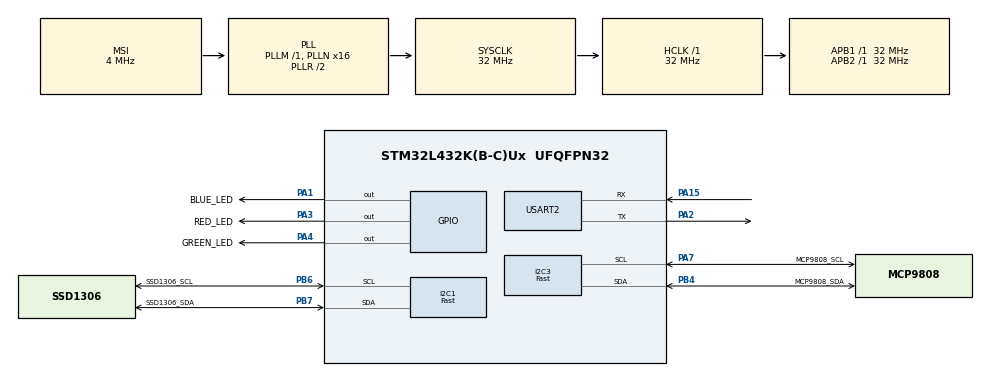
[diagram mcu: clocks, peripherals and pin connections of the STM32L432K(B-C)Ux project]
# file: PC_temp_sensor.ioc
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I2C1.I2C_Speed_Mode=I2C_Fast
I2C1.Timing=0x0060112F
I2C3.I2C_Speed_Mode=I2C_Fast
I2C3.Timing=0x0060112F
Mcu.Family=STM32L4
Mcu.Name=STM32L432K(B-C)Ux
Mcu.Package=UFQFPN32
NVIC.PriorityGroup=NVIC_PRIORITYGROUP_4
PA1.GPIO_Label=BLUE_LED
PA1.Signal=GPIO_Output
PA13\ (JTMS-SWDIO).GPIO_Label=SWDIO
PA13\ (JTMS-SWDIO).Mode=Serial_Wire
PA13\ (JTMS-SWDIO).Signal=SYS_JTMS-SWDIO
PA14\ (JTCK-SWCLK).GPIO_Label=SWCLK
PA14\ (JTCK-SWCLK).Mode=Serial_Wire
PA14\ (JTCK-SWCLK).Signal=SYS_JTCK-SWCLK
PA15\ (JTDI).Mode=Asynchronous
PA15\ (JTDI).Signal=USART2_RX
PA2.Mode=Asynchronous
PA2.Signal=USART2_TX
PA3.GPIO_Label=RED_LED
PA3.Signal=GPIO_Output
PA4.GPIO_Label=GREEN_LED
PA4.Signal=GPIO_Output
PA7.GPIO_Label=MCP9808_SCL
PA7.Mode=I2C
PA7.Signal=I2C3_SCL
PB4\ (NJTRST).GPIO_Label=MCP9808_SDA
PB4\ (NJTRST).Mode=I2C
PB4\ (NJTRST).Signal=I2C3_SDA
PB6.GPIO_Label=SSD1306_SCL
PB6.Mode=I2C
PB6.Signal=I2C1_SCL
PB7.GPIO_Label=SSD1306_SDA
PB7.Mode=I2C
PB7.Signal=I2C1_SDA
ProjectManager.HeapSize=0x200
ProjectManager.StackSize=0x400
ProjectManager.TargetToolchain=STM32CubeIDE
RCC.AHBFreq_Value=32000000
RCC.APB1Freq_Value=32000000
RCC.APB1TimFreq_Value=32000000
RCC.APB2Freq_Value=32000000
RCC.APB2TimFreq_Value=32000000
RCC.CortexFreq_Value=32000000
RCC.HCLKFreq_Value=32000000
RCC.HSE_VALUE=8000000
RCC.HSI16_VALUE=16000000
RCC.HSI48_VALUE=48000000
RCC.HSI_VALUE=16000000
RCC.MSI_VALUE=4000000
RCC.PLLMUL=RCC_PLLMUL_4
RCC.PLLN=16
RCC.SYSCLKFreq_VALUE=32000000
RCC.SYSCLKSource=RCC_SYSCLKSOURCE_PLLCLK
RCC.VCOOutputFreq_Value=64000000
USART2.VirtualMode-Asynchronous=VM_ASYNC
board=NUCLEO-L432KC

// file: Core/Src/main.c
/* USER CODE BEGIN Header */
/**
  ******************************************************************************
  * @file           : main.c
  * @brief          : Main program body
  ******************************************************************************
  * @attention
  *
  * Copyright (c) 2026 STMicroelectronics.
  * All rights reserved.
  *
  * This software is licensed under terms that can be found in the LICENSE file
  * in the root directory of this software component.
  * If no LICENSE file comes with this software, it is provided AS-IS.
  *
  ******************************************************************************
  */
/* USER CODE END Header */
#include "main.h"

/* USER CODE BEGIN Includes */
#include "ssd1306.h"
#include "fonts.h"
#include "MCP9808.h"
#include <stdlib.h>
#include <stdio.h>
#include <string.h>
#include <stdarg.h>
#include <stdbool.h>
/* USER CODE END Includes */

/* USER CODE BEGIN PD */
#define TEMP_HOT_F	90.0f 	/* red LED turns ON at or above this */
#define TEMP_OK_F	85.0f	/* red LED turns OFF only below this	 */

#define MAX_READ_FAILS	3	/* consecutive failed reads before declaring a fault */
/* USER CODE END PD */

I2C_HandleTypeDef hi2c1;
I2C_HandleTypeDef hi2c3;

UART_HandleTypeDef huart2;

/* USER CODE BEGIN PV */
void debug_print(const char *msg);
void myprintf(const char *fmt, ...);

//----------------------- Variables for OLED Display-------------------

char buf_C [16]; // Temperature in Celsius
char buf_F [16]; // Temperature in Fahrenheit

//----------------------- Variables for temperature logic and fault tolerance-----------------------
bool tooHot = false;	/* remembers the current state between loop passes */

uint8_t failCount   = 0;       /* consecutive failed reads so far */
bool sensorFault 	= false;   /* true while the fault is active   */
/* USER CODE END PV */

void SystemClock_Config(void);
static void MX_GPIO_Init(void);
static void MX_I2C1_Init(void);
static void MX_I2C3_Init(void);
static void MX_USART2_UART_Init(void);

/* USER CODE BEGIN 0 */
void debug_print(const char *msg)
{
  HAL_UART_Transmit(&huart2, (uint8_t *)msg, strlen(msg), 100);
}

void myprintf(const char *fmt, ...)
{
  static char buffer[256];
  va_list args;
  va_start(args, fmt);
  vsnprintf(buffer, sizeof(buffer), fmt, args);
  va_end(args);

  int len = strlen(buffer);
  HAL_UART_Transmit(&huart2, (uint8_t*)buffer, len, HAL_MAX_DELAY);

}
 // Helper functions that redraws the OLED's fixed text after error screen wipes it
static void oled_draw_static(void)
{
    SSD1306_Fill(SSD1306_COLOR_BLACK);
    SSD1306_GotoXY(0, 0);
    SSD1306_Puts("PC Case Temp", &Font_7x10, 1);
    SSD1306_GotoXY(0, 10);
    SSD1306_Puts("Temp: ", &Font_7x10, 1);
}
/* USER CODE END 0 */

int main(void)
{

  /* MCU Configuration--------------------------------------------------------*/

  /* Reset of all peripherals, Initializes the Flash interface and the Systick. */
  HAL_Init();

  /* Configure the system clock */
  SystemClock_Config();

  /* Initialize all configured peripherals */
  MX_GPIO_Init();
  MX_I2C1_Init();
  MX_I2C3_Init();
  MX_USART2_UART_Init();
  /* USER CODE BEGIN 2 */
  debug_print("\r\n ~ START ~\r\n\r"); // for PuTTY

  /*------------------------------------------------- Fault tolerance for startup----------------------------------------------------------------*/
  /* ---- MCP9808: retry forever. Attempts 1-3 are silent; from attempt 4 on,
   *      the red LED flashes between retries until the sensor answers. ---- */
  uint8_t attempts = 0;
  while (!MCP9808_Init(&hi2c3))
  {
	  /* Attempts is a uint8_t, so after 255 failed attempts it wraps to 0 and the red LED stops flashing for 3 passes.
	   * Cap it at 255, so it stays at 255, soo attempts >= 3 stay true and the LEED keeps flashing 					*/
	  if (attempts < 255) attempts++;
	  myprintf("MCP9808 FAIL(attempt %u)\r\n", attempts);
	  if (attempts >= 3)
	  {
		  HAL_GPIO_TogglePin(RED_LED_GPIO_Port, RED_LED_Pin);
	  }
	  HAL_Delay(250);
  }
  HAL_GPIO_WritePin(RED_LED_GPIO_Port, RED_LED_Pin, GPIO_PIN_RESET);  /* stop flashing */
  myprintf("MCP9808 OK\r\n");

  /* ---- SSD1306: 3 attempts, then continue without the display ---- */
  bool oledOK = false;
  for (uint8_t i = 0; i < 3 && !oledOK; i++) {
      oledOK = SSD1306_Init();            /* returns 1 on success, 0 on failure */
      if (!oledOK) {
          myprintf("SSD1306 FAIL (attempt %u)\r\n", i + 1);
          HAL_Delay(100);
      }
  }

  if (oledOK) {
      myprintf("SSD1306 OK\r\n");
      oled_draw_static();
  } else {
      myprintf("SSD1306 FAIL - continuing without display\r\n");
  }
/*---------------------------------------------------------------------------------------------------------------------------------------------*/
  /* USER CODE END 2 */

  /* Infinite loop */
  /* USER CODE BEGIN WHILE */
  while (1)
  {
	  /* Blue LED: solid = display OK, flashing = display failed.
	   * The loop runs every 500 ms, so toggling here gives a steady blink. */
	  if (oledOK) {
	     HAL_GPIO_WritePin(BLUE_LED_GPIO_Port, BLUE_LED_Pin, GPIO_PIN_SET);
	  } else {
	     HAL_GPIO_TogglePin(BLUE_LED_GPIO_Port, BLUE_LED_Pin);
	  }

	  float tempC;		// receives the temperature in Celsius
	  float tempF; 		// receives the temperature in Fahrenheit

	  if (MCP9808_ReadTempC(&hi2c3, &tempC, &tempF)) // &tempC = "address of tempC"
	  {												 // &tempF = "address of tempF"

		  failCount = 0;			/* a good read resets the streak */

		  if (sensorFault)			/* we just recovered from a fault */
		  {
			  sensorFault = false;
			  myprintf("Sensor recovered\r\n");
			  if (oledOK)
			  {
				  oled_draw_static();		/* redraw the title and label */
			  }

		  }

		  if(oledOK)
		  {
			  // Print in Celsius
			  SSD1306_GotoXY(42, 10);
			  snprintf(buf_C, sizeof(buf_C), "%.2f C", tempC);
			  SSD1306_Puts(buf_C, &Font_7x10, 1);

			  // Print in Fahrenheit
			  SSD1306_GotoXY(42, 20);
			  snprintf(buf_F, sizeof(buf_F), "%.2f F", tempF);
			  SSD1306_Puts(buf_F, &Font_7x10, 1);

		  }

		  // Debug print
		  myprintf("\nTemp: %.2f C\r\n", tempC);
		  myprintf("%.2f F\r\n", tempF);

		  /* Hysteresis: only change state when a threshold is crossed */
		  if (!tooHot && tempF >= TEMP_HOT_F)
		  {
			 tooHot = true;
		  } else if (tooHot && tempF < TEMP_OK_F)
		  {
			  tooHot = false;
		  }

		  HAL_GPIO_WritePin(RED_LED_GPIO_Port,   RED_LED_Pin,   tooHot ? GPIO_PIN_SET   : GPIO_PIN_RESET);
		  HAL_GPIO_WritePin(GREEN_LED_GPIO_Port, GREEN_LED_Pin, tooHot ? GPIO_PIN_RESET : GPIO_PIN_SET);

	  } else {
	      myprintf("Temp read failed (%u)\r\n", failCount + 1);

	      /* Reset the I2C3 peripheral so it can recover after a bus glitch */
	      HAL_I2C_DeInit(&hi2c3);
	      MX_I2C3_Init();

	      if (failCount < MAX_READ_FAILS)
	      {
	    	  failCount++;
	      }

	      if (failCount >= MAX_READ_FAILS)
	      {
	    	  if (!sensorFault)				/* first pass of the fault only */
	    	  {
	    		  sensorFault =  true;
	    		  tooHot = false;			/* forget the old hot/ok state */
	    		  HAL_GPIO_WritePin(GREEN_LED_GPIO_Port, GREEN_LED_Pin, GPIO_PIN_RESET);

	    		  if(oledOK)
	    		  {
	    			  SSD1306_Fill(SSD1306_COLOR_BLACK);
	    			  SSD1306_GotoXY(0, 0);
	    			  SSD1306_Puts("PC Case Temp", &Font_7x10, 1);
	    			  SSD1306_GotoXY(0, 20);
	    			  SSD1306_Puts("SENSOR ERR", &Font_7x10, 1);
	    		  }
	    	  }

	    	  HAL_GPIO_TogglePin(RED_LED_GPIO_Port, RED_LED_Pin);   /* flash red */
	      }
	  }

	  if(oledOK)
	  {
		  SSD1306_UpdateScreen();
	  }

	  HAL_Delay(500);

    /* USER CODE END WHILE */

  }
}

void SystemClock_Config(void)
{
  RCC_OscInitTypeDef RCC_OscInitStruct = {0};
  RCC_ClkInitTypeDef RCC_ClkInitStruct = {0};

  /** Configure the main internal regulator output voltage
  */
  if (HAL_PWREx_ControlVoltageScaling(PWR_REGULATOR_VOLTAGE_SCALE1) != HAL_OK)
  {
    Error_Handler();
  }

  /** Initializes the RCC Oscillators according to the specified parameters
  * in the RCC_OscInitTypeDef structure.
  */
  RCC_OscInitStruct.OscillatorType = RCC_OSCILLATORTYPE_MSI;
  RCC_OscInitStruct.MSIState = RCC_MSI_ON;
  RCC_OscInitStruct.MSICalibrationValue = 0;
  RCC_OscInitStruct.MSIClockRange = RCC_MSIRANGE_6;
  RCC_OscInitStruct.PLL.PLLState = RCC_PLL_ON;
  RCC_OscInitStruct.PLL.PLLSource = RCC_PLLSOURCE_MSI;
  RCC_OscInitStruct.PLL.PLLM = 1;
  RCC_OscInitStruct.PLL.PLLN = 16;
  RCC_OscInitStruct.PLL.PLLP = RCC_PLLP_DIV7;
  RCC_OscInitStruct.PLL.PLLQ = RCC_PLLQ_DIV2;
  RCC_OscInitStruct.PLL.PLLR = RCC_PLLR_DIV2;
  if (HAL_RCC_OscConfig(&RCC_OscInitStruct) != HAL_OK)
  {
    Error_Handler();
  }

  /** Initializes the CPU, AHB and APB buses clocks
  */
  RCC_ClkInitStruct.ClockType = RCC_CLOCKTYPE_HCLK|RCC_CLOCKTYPE_SYSCLK
                              |RCC_CLOCKTYPE_PCLK1|RCC_CLOCKTYPE_PCLK2;
  RCC_ClkInitStruct.SYSCLKSource = RCC_SYSCLKSOURCE_PLLCLK;
  RCC_ClkInitStruct.AHBCLKDivider = RCC_SYSCLK_DIV1;
  RCC_ClkInitStruct.APB1CLKDivider = RCC_HCLK_DIV1;
  RCC_ClkInitStruct.APB2CLKDivider = RCC_HCLK_DIV1;

  if (HAL_RCC_ClockConfig(&RCC_ClkInitStruct, FLASH_LATENCY_1) != HAL_OK)
  {
    Error_Handler();
  }
}

static void MX_I2C1_Init(void)
{

  hi2c1.Instance = I2C1;
  hi2c1.Init.Timing = 0x0060112F;
  hi2c1.Init.OwnAddress1 = 0;
  hi2c1.Init.AddressingMode = I2C_ADDRESSINGMODE_7BIT;
  hi2c1.Init.DualAddressMode = I2C_DUALADDRESS_DISABLE;
  hi2c1.Init.OwnAddress2 = 0;
  hi2c1.Init.OwnAddress2Masks = I2C_OA2_NOMASK;
  hi2c1.Init.GeneralCallMode = I2C_GENERALCALL_DISABLE;
  hi2c1.Init.NoStretchMode = I2C_NOSTRETCH_DISABLE;
  if (HAL_I2C_Init(&hi2c1) != HAL_OK)
  {
    Error_Handler();
  }

  /** Configure Analogue filter
  */
  if (HAL_I2CEx_ConfigAnalogFilter(&hi2c1, I2C_ANALOGFILTER_ENABLE) != HAL_OK)
  {
    Error_Handler();
  }

  /** Configure Digital filter
  */
  if (HAL_I2CEx_ConfigDigitalFilter(&hi2c1, 0) != HAL_OK)
  {
    Error_Handler();
  }

}

static void MX_I2C3_Init(void)
{

  hi2c3.Instance = I2C3;
  hi2c3.Init.Timing = 0x0060112F;
  hi2c3.Init.OwnAddress1 = 0;
  hi2c3.Init.AddressingMode = I2C_ADDRESSINGMODE_7BIT;
  hi2c3.Init.DualAddressMode = I2C_DUALADDRESS_DISABLE;
  hi2c3.Init.OwnAddress2 = 0;
  hi2c3.Init.OwnAddress2Masks = I2C_OA2_NOMASK;
  hi2c3.Init.GeneralCallMode = I2C_GENERALCALL_DISABLE;
  hi2c3.Init.NoStretchMode = I2C_NOSTRETCH_DISABLE;
  if (HAL_I2C_Init(&hi2c3) != HAL_OK)
  {
    Error_Handler();
  }

  /** Configure Analogue filter
  */
  if (HAL_I2CEx_ConfigAnalogFilter(&hi2c3, I2C_ANALOGFILTER_ENABLE) != HAL_OK)
  {
    Error_Handler();
  }

  /** Configure Digital filter
  */
  if (HAL_I2CEx_ConfigDigitalFilter(&hi2c3, 0) != HAL_OK)
  {
    Error_Handler();
  }

}

static void MX_USART2_UART_Init(void)
{

  huart2.Instance = USART2;
  huart2.Init.BaudRate = 115200;
  huart2.Init.WordLength = UART_WORDLENGTH_8B;
  huart2.Init.StopBits = UART_STOPBITS_1;
  huart2.Init.Parity = UART_PARITY_NONE;
  huart2.Init.Mode = UART_MODE_TX_RX;
  huart2.Init.HwFlowCtl = UART_HWCONTROL_NONE;
  huart2.Init.OverSampling = UART_OVERSAMPLING_16;
  huart2.Init.OneBitSampling = UART_ONE_BIT_SAMPLE_DISABLE;
  huart2.AdvancedInit.AdvFeatureInit = UART_ADVFEATURE_NO_INIT;
  if (HAL_UART_Init(&huart2) != HAL_OK)
  {
    Error_Handler();
  }

}

static void MX_GPIO_Init(void)
{
  GPIO_InitTypeDef GPIO_InitStruct = {0};

  /* GPIO Ports Clock Enable */
  __HAL_RCC_GPIOA_CLK_ENABLE();
  __HAL_RCC_GPIOB_CLK_ENABLE();

  /*Configure GPIO pin Output Level */
  HAL_GPIO_WritePin(GPIOA, BLUE_LED_Pin|RED_LED_Pin|GREEN_LED_Pin, GPIO_PIN_RESET);

  /*Configure GPIO pins : BLUE_LED_Pin RED_LED_Pin GREEN_LED_Pin */
  GPIO_InitStruct.Pin = BLUE_LED_Pin|RED_LED_Pin|GREEN_LED_Pin;
  GPIO_InitStruct.Mode = GPIO_MODE_OUTPUT_PP;
  GPIO_InitStruct.Pull = GPIO_NOPULL;
  GPIO_InitStruct.Speed = GPIO_SPEED_FREQ_LOW;
  HAL_GPIO_Init(GPIOA, &GPIO_InitStruct);

}

void Error_Handler(void)
{
  __disable_irq();
  while (1)
  {
  }
}
